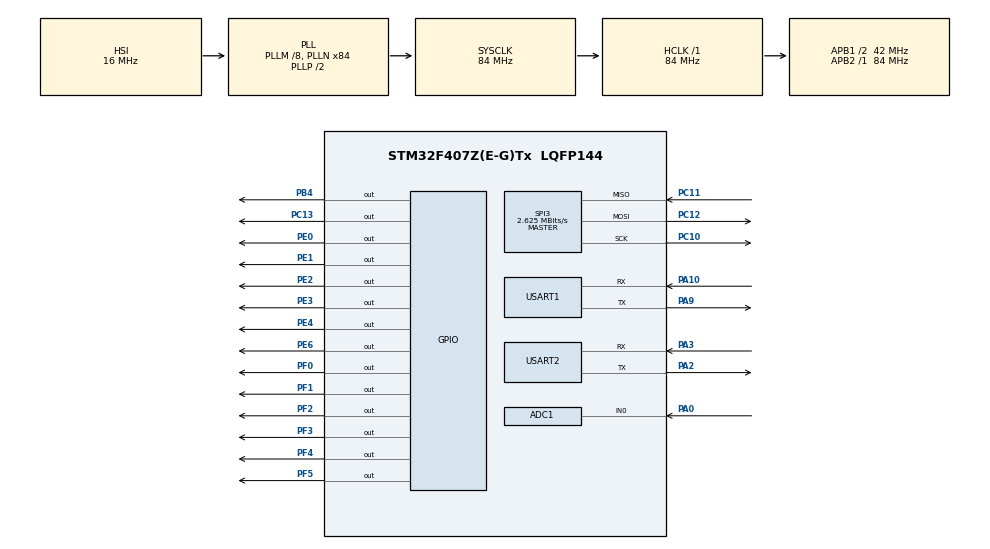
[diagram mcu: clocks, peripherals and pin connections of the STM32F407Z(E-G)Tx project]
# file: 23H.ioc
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ADC1.Channel-0\#ChannelRegularConversion=ADC_CHANNEL_0
ADC1.ExternalTrigConv=ADC_EXTERNALTRIGCONV_T3_TRGO
ADC1.NbrOfConversionFlag=1
ADC1.Rank-0\#ChannelRegularConversion=1
ADC1.SamplingTime-0\#ChannelRegularConversion=ADC_SAMPLETIME_3CYCLES
ADC1.master=1
Dma.ADC1.0.Direction=DMA_PERIPH_TO_MEMORY
Dma.ADC1.0.FIFOMode=DMA_FIFOMODE_DISABLE
Dma.ADC1.0.Instance=DMA2_Stream0
Dma.ADC1.0.MemDataAlignment=DMA_MDATAALIGN_HALFWORD
Dma.ADC1.0.MemInc=DMA_MINC_ENABLE
Dma.ADC1.0.Mode=DMA_NORMAL
Dma.ADC1.0.PeriphDataAlignment=DMA_PDATAALIGN_HALFWORD
Dma.ADC1.0.PeriphInc=DMA_PINC_DISABLE
Dma.ADC1.0.Priority=DMA_PRIORITY_LOW
Dma.Request0=ADC1
Mcu.Family=STM32F4
Mcu.Name=STM32F407Z(E-G)Tx
Mcu.Package=LQFP144
NVIC.DMA2_Stream0_IRQn=true\:0\:0\:false\:false\:true\:false\:true\:true
NVIC.PriorityGroup=NVIC_PRIORITYGROUP_4
NVIC.SPI3_IRQn=true\:0\:0\:false\:false\:true\:true\:true\:true
NVIC.USART1_IRQn=true\:0\:0\:false\:false\:true\:true\:true\:true
NVIC.USART2_IRQn=true\:0\:0\:false\:false\:true\:true\:true\:true
PA0-WKUP.Signal=ADCx_IN0
PA10.Mode=Asynchronous
PA10.Signal=USART1_RX
PA13.Mode=Serial_Wire
PA13.Signal=SYS_JTMS-SWDIO
PA14.Mode=Serial_Wire
PA14.Signal=SYS_JTCK-SWCLK
PA2.Mode=Asynchronous
PA2.Signal=USART2_TX
PA3.Mode=Asynchronous
PA3.Signal=USART2_RX
PA9.Mode=Asynchronous
PA9.Signal=USART1_TX
PB4.Signal=GPIO_Output
PC10.Mode=Full_Duplex_Master
PC10.Signal=SPI3_SCK
PC11.Mode=Full_Duplex_Master
PC11.Signal=SPI3_MISO
PC12.Mode=Full_Duplex_Master
PC12.Signal=SPI3_MOSI
PC13-ANTI_TAMP.Signal=GPIO_Output
PE0.Signal=GPIO_Output
PE1.Signal=GPIO_Output
PE2.Signal=GPIO_Output
PE3.Signal=GPIO_Output
PE4.Signal=GPIO_Output
PE6.Signal=GPIO_Output
PF0.Signal=GPIO_Output
PF1.Signal=GPIO_Output
PF2.Signal=GPIO_Output
PF3.Signal=GPIO_Output
PF4.Signal=GPIO_Output
PF5.PinState=GPIO_PIN_SET
PF5.Signal=GPIO_Output
PH0-OSC_IN.Mode=HSE-External-Oscillator
PH0-OSC_IN.Signal=RCC_OSC_IN
PH1-OSC_OUT.Mode=HSE-External-Oscillator
PH1-OSC_OUT.Signal=RCC_OSC_OUT
ProjectManager.HeapSize=0x200
ProjectManager.StackSize=0x400
ProjectManager.TargetToolchain=MDK-ARM V5.32
RCC.48MHZClocksFreq_Value=42000000
RCC.AHBFreq_Value=84000000
RCC.APB1CLKDivider=RCC_HCLK_DIV2
RCC.APB1Freq_Value=42000000
RCC.APB1TimFreq_Value=84000000
RCC.APB2Freq_Value=84000000
RCC.APB2TimFreq_Value=84000000
RCC.CortexFreq_Value=84000000
RCC.HCLKFreq_Value=84000000
RCC.HSE_VALUE=25000000
RCC.HSI_VALUE=16000000
RCC.LSE_VALUE=32768
RCC.PLLM=8
RCC.PLLN=84
RCC.SYSCLKFreq_VALUE=84000000
RCC.SYSCLKSource=RCC_SYSCLKSOURCE_PLLCLK
RCC.VCOOutputFreq_Value=168000000
SH.ADCx_IN0.0=ADC1_IN0,IN0
SPI3.BaudRatePrescaler=SPI_BAUDRATEPRESCALER_16
SPI3.CalculateBaudRate=2.625 MBits/s
SPI3.Direction=SPI_DIRECTION_2LINES
SPI3.Mode=SPI_MODE_MASTER
SPI3.VirtualType=VM_MASTER
TIM3.AutoReloadPreload=TIM_AUTORELOAD_PRELOAD_ENABLE
TIM3.Period=82-1
TIM3.TIM_MasterOutputTrigger=TIM_TRGO_UPDATE
TIM3.TIM_MasterSlaveMode=TIM_MASTERSLAVEMODE_DISABLE
USART1.VirtualMode=VM_ASYNC
USART2.VirtualMode=VM_ASYNC
VP_TIM3_VS_ClockSourceINT.Mode=Internal
board=custom

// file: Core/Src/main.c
/* USER CODE BEGIN Header */
/**
  ******************************************************************************
  * @file           : main.c
  * @brief          : Main program body
  ******************************************************************************
  * @attention
  *
  * Copyright (c) 2025 STMicroelectronics.
  * All rights reserved.
  *
  * This software is licensed under terms that can be found in the LICENSE file
  * in the root directory of this software component.
  * If no LICENSE file comes with this software, it is provided AS-IS.
  *
  ******************************************************************************
  */
/* USER CODE END Header */
#include "main.h"
#include "adc.h"
#include "dma.h"
#include "spi.h"
#include "tim.h"
#include "usart.h"
#include "gpio.h"

/* USER CODE BEGIN Includes */
#include "arm_math.h"		// // CMSIS DSP 数学库
#include "arm_const_structs.h" // FFT 结构体定义
#include <stdio.h>// 标准输入输出库
#include "AD9959.h"// AD9959 DDS 控制头文件
#include "hmi.h"
/* USER CODE END Includes */

/* USER CODE BEGIN PTD */
#define PI 3.141592653589

/* USER CODE END PTD */

/* USER CODE BEGIN PD */
#define FFT_LENGTH 1024				// FFT 长度，必须为2的整数次幂
#define SAMPLE_RATE 1024400   // <<== 修改为你实际的ADC采样率（单位 Hz）
/* USER CODE END PD */

/* USER CODE BEGIN PM */
void HMI_UpdateTwoFrequencies(float freq1, float freq2);
/* USER CODE END PM */

/* USER CODE BEGIN PV */
uint16_t adc_buff[200];
__IO uint8_t AdcConvEnd = 0;		// ADC转换完成标志，由回调函数置位
uint16_t adcBuff[FFT_LENGTH];		// 存放ADC采样结果（整型）
void HMI_SendWaveData(float freq);
float fft_inputbuf[FFT_LENGTH * 2];		// FFT输入数组，复数形式：实部+虚部交替存储
float fft_outputbuf[FFT_LENGTH];			// FFT输出幅值数组
/* USER CODE END PV */

void SystemClock_Config(void);

/* USER CODE BEGIN 0 */
// Hanning窗函数，提升频谱分辨率，降低旁瓣泄漏
void apply_hanning_window(float* input, uint32_t length) {
    for (uint32_t i = 0; i < length; i++) {
        float window = 0.5f * (1.0f - arm_cos_f32(2 * PI * i / (length - 1)));
        input[i] *= window;
    }
}
/* USER CODE END 0 */

int main(void)
{

  /* MCU Configuration--------------------------------------------------------*/

  /* Reset of all peripherals, Initializes the Flash interface and the Systick. */
  HAL_Init();

  /* USER CODE BEGIN Init */
	AD9959_Init();			// 初始化 AD9959 控制IO和寄存器
  /* USER CODE END Init */

  /* Configure the system clock */
  SystemClock_Config();

  /* Initialize all configured peripherals */
  MX_GPIO_Init();
  MX_DMA_Init();
  MX_ADC1_Init();
  MX_TIM3_Init();
  MX_USART1_UART_Init();
  MX_SPI3_Init();
  MX_USART2_UART_Init();
  /* USER CODE BEGIN 2 */
  HAL_TIM_Base_Start(&htim3);			 // 启动定时器用于ADC触发
  HAL_ADC_Start_DMA(&hadc1, (uint32_t *)adcBuff, FFT_LENGTH);		// 启动ADC DMA采样

  while (!AdcConvEnd);		 // 等待ADC完成转换
  // === 采样数据转换为浮点数并准备FFT输入 ===
  for (int i = 0; i < FFT_LENGTH; i++) {
      fft_inputbuf[i * 2]     = adcBuff[i] * 3.3f / 4096.0f;		// 实部，电压值
      fft_inputbuf[i * 2 + 1] = 0.0f;														// 虚部为0
  }

  arm_cfft_f32(&arm_cfft_sR_f32_len1024, fft_inputbuf, 0, 1);		// 复数FFT，未位反转，缩放
  arm_cmplx_mag_f32(fft_inputbuf, fft_outputbuf, FFT_LENGTH);		// 计算复数模长作为幅值
	 // === 幅值归一化处理 ===
  fft_outputbuf[0] /= 1024.0f;																// 直流分量除以N
  for (int i = 1; i < FFT_LENGTH; i++) {
      fft_outputbuf[i] /= 512.0f;															// 非直流分量除以N/2
  }
	  // === 再次加窗（可选，已在输入处加过窗）===
for (int i = 0; i < FFT_LENGTH; i++) {
    float window = 0.5f * (1.0f - arm_cos_f32(2 * PI * i / (FFT_LENGTH - 1)));
    fft_inputbuf[i * 2] *= window;
}

  // === 打印FFT结果 ===
  printf("FFT Result:\r\n");
  for (int i = 0; i < FFT_LENGTH; i++) {
      printf("%d:\t%.2f\r\n", i, fft_outputbuf[i]);
  }

  // 查找两个主频 ===
  uint32_t maxIndex1 = 0, maxIndex2 = 0;
  float maxValue1 = 0.0f, maxValue2 = 0.0f;
	  // === 重建带窗采样数据（为峰值检测准备）===
	for (int i = 0; i < FFT_LENGTH; i++) {
    float window = 0.5f - 0.5f * arm_cos_f32(2 * PI * i / (FFT_LENGTH - 1));
    fft_inputbuf[i * 2] = (adcBuff[i] * 3.3f / 4096.0f) * window;
    fft_inputbuf[i * 2 + 1] = 0.0f;
}
	 // === 找出幅值最大的两个频率bin ===
  for (int i = 1; i < FFT_LENGTH / 2; i++) {
      float val = fft_outputbuf[i];
      if (val > maxValue1) {
          maxValue2 = maxValue1;
          maxIndex2 = maxIndex1;

          maxValue1 = val;
          maxIndex1 = i;
      } else if (val > maxValue2) {
          maxValue2 = val;
          maxIndex2 = i;
      }
  }
  // === 计算频率值（Hz） ===
  float freq1 = ((float)maxIndex1 * SAMPLE_RATE) / FFT_LENGTH;
  float freq2 = ((float)maxIndex2 * SAMPLE_RATE) / FFT_LENGTH;

  printf("Detected Frequencies:\r\n");
  printf("Freq1 = %d Hz (Bin %lu)\r\n", (int)freq1, maxIndex1);
  printf("Freq2 = %d Hz (Bin %lu)\r\n", (int)freq2, maxIndex2);
AD9959_Init();								//初始化控制AD9959需要用到的IO口,及寄存器
	AD9959_Set_Fre(CH0,freq1);
	AD9959_Set_Fre(CH1,freq2);
	AD9959_Set_Fre(CH2, 100000);	//设置通道2频率100000Hz
	AD9959_Set_Fre(CH3, 100000);	//设置通道3频率100000Hz

	AD9959_Set_Amp(CH0, 1023); 		//设置通道0幅度控制值1023，范围0~1023
	AD9959_Set_Amp(CH1, 1023); 		//设置通道1幅度控制值1023，范围0~1023
	AD9959_Set_Amp(CH2, 1023); 		//设置通道2幅度控制值1023，范围0~1023
	AD9959_Set_Amp(CH3, 1023); 		//设置通道3幅度控制值1023，范围0~1023

	AD9959_Set_Phase(CH0, 0);			//设置通道0相位控制值0(0度)，范围0~16383
	AD9959_Set_Phase(CH1, 0);	//设置通道1相位控制值4096(90度)，范围0~16383
	AD9959_Set_Phase(CH2, 0);	//设置通道2相位控制值8192(180度)，范围0~16383
	AD9959_Set_Phase(CH3, 0);	//设置通道3相位控制值12288(270度)，范围0~16383
	IO_Update();	//AD9959更新数据
  /* USER CODE END 2 */

  /* Infinite loop */
  /* USER CODE BEGIN WHILE */
  while (1)
  {
HMI_UpdateTwoFrequencies((int)freq1,(int)freq2);
sendWaveData(freq1);

    HAL_Delay(1000);  // 200ms更新一次
    /* USER CODE END WHILE */

  }
}

void SystemClock_Config(void)
{
  RCC_OscInitTypeDef RCC_OscInitStruct = {0};
  RCC_ClkInitTypeDef RCC_ClkInitStruct = {0};

  /** Configure the main internal regulator output voltage
  */
  __HAL_RCC_PWR_CLK_ENABLE();
  __HAL_PWR_VOLTAGESCALING_CONFIG(PWR_REGULATOR_VOLTAGE_SCALE1);

  /** Initializes the RCC Oscillators according to the specified parameters
  * in the RCC_OscInitTypeDef structure.
  */
  RCC_OscInitStruct.OscillatorType = RCC_OSCILLATORTYPE_HSI;
  RCC_OscInitStruct.HSIState = RCC_HSI_ON;
  RCC_OscInitStruct.HSICalibrationValue = RCC_HSICALIBRATION_DEFAULT;
  RCC_OscInitStruct.PLL.PLLState = RCC_PLL_ON;
  RCC_OscInitStruct.PLL.PLLSource = RCC_PLLSOURCE_HSI;
  RCC_OscInitStruct.PLL.PLLM = 8;
  RCC_OscInitStruct.PLL.PLLN = 84;
  RCC_OscInitStruct.PLL.PLLP = RCC_PLLP_DIV2;
  RCC_OscInitStruct.PLL.PLLQ = 4;
  if (HAL_RCC_OscConfig(&RCC_OscInitStruct) != HAL_OK)
  {
    Error_Handler();
  }

  /** Initializes the CPU, AHB and APB buses clocks
  */
  RCC_ClkInitStruct.ClockType = RCC_CLOCKTYPE_HCLK|RCC_CLOCKTYPE_SYSCLK
                              |RCC_CLOCKTYPE_PCLK1|RCC_CLOCKTYPE_PCLK2;
  RCC_ClkInitStruct.SYSCLKSource = RCC_SYSCLKSOURCE_PLLCLK;
  RCC_ClkInitStruct.AHBCLKDivider = RCC_SYSCLK_DIV1;
  RCC_ClkInitStruct.APB1CLKDivider = RCC_HCLK_DIV2;
  RCC_ClkInitStruct.APB2CLKDivider = RCC_HCLK_DIV1;

  if (HAL_RCC_ClockConfig(&RCC_ClkInitStruct, FLASH_LATENCY_2) != HAL_OK)
  {
    Error_Handler();
  }
}

/* USER CODE BEGIN 4 */
void HAL_ADC_ConvCpltCallback(ADC_HandleTypeDef* hadc)
{
    if (hadc->Instance == ADC1)
        AdcConvEnd = 1;
}

/* USER CODE END 4 */

void Error_Handler(void)
{
  __disable_irq();
  while (1)
  {
  }
}
